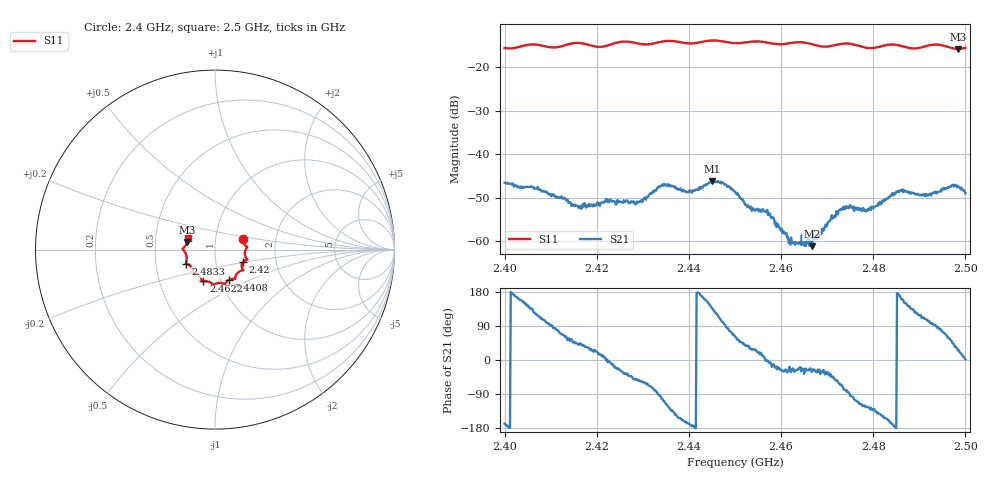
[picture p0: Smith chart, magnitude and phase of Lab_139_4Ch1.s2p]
# Hz S RI R 50
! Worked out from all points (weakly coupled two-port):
!   601 points, 2.4 GHz to 2.5 GHz, reference 50 ohm
!   highest |S21| = -46.12 dB at 2.445 GHz (marker M1); lowest = -61.1 dB at 2.4667 GHz (marker M2)
!   lowest |S11| = -15.9 dB at 2.4983 GHz (marker M3), VSWR 1.38, Z = 36.5 + j3.09 ohm
!   |S11| at or under -10 dB: start of sweep to end of sweep
!   S12 and S22 are empty: the file has one direction only
!   S11 on the Smith chart (normalised r, x): 2.4 GHz: 1.35, +0.16; 2.42 GHz: 1.35, -0.20; 2.4408 GHz: 1.09, -0.38; 2.4622 GHz: 0.83, -0.30; 2.4833 GHz: 0.71, -0.12; 2.5 GHz: 0.73, +0.10
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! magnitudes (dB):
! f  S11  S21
! 2.4 GHz  -15.7  -46.6
! 2.4073 GHz  -14.9  -48.1
! 2.4167 GHz  -14.6  -52.5
! 2.42 GHz  -15.4  -51.4
! 2.4225 GHz  -15.0  -50.6
! 2.4287 GHz  -14.6  -50.9
! 2.4333 GHz  -14.4  -47.5
! 2.4352 GHz  -14.0  -47.2
! 2.4408 GHz  -14.6  -48.3
! 2.445 GHz  -13.9  -46.1
! 2.45 GHz  -14.6  -48.7
! 2.4532 GHz  -14.3  -52.2
! 2.4572 GHz  -14.4  -54.0
! 2.4622 GHz  -14.5  -59.1
! 2.4667 GHz  -14.8  -61.1
! 2.473 GHz  -14.7  -52.5
! 2.4785 GHz  -15.6  -52.9
! 2.4833 GHz  -14.9  -49.8
! 2.4858 GHz  -15.1  -48.3
! 2.4915 GHz  -15.2  -49.1
! 2.4983 GHz  -15.9  -47.3
! 2.5 GHz  -15.6  -49.0
